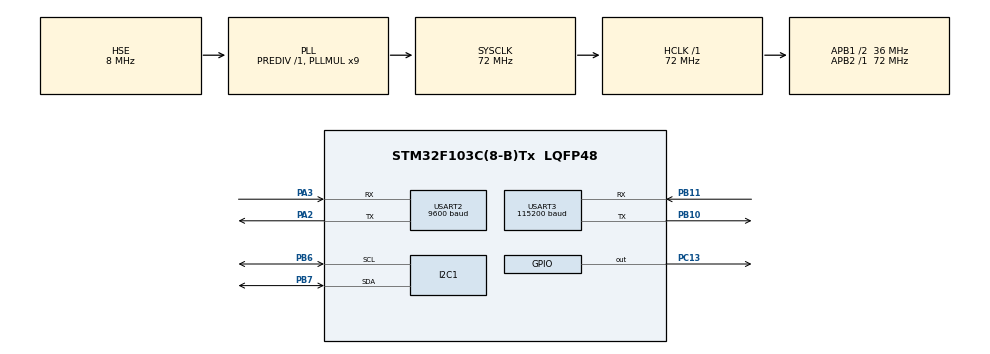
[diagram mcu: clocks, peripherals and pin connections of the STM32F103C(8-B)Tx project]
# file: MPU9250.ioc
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I2C1.I2C_Mode=I2C_Fast
Mcu.Family=STM32F1
Mcu.Name=STM32F103C(8-B)Tx
Mcu.Package=LQFP48
NVIC.PriorityGroup=NVIC_PRIORITYGROUP_4
NVIC.TIM1_BRK_IRQn=true\:0\:0\:false\:false\:true\:true\:true
NVIC.TIM1_CC_IRQn=true\:0\:0\:false\:false\:true\:true\:true
NVIC.TIM1_TRG_COM_IRQn=true\:0\:0\:false\:false\:true\:true\:true
NVIC.TIM1_UP_IRQn=true\:0\:0\:false\:false\:true\:true\:true
NVIC.TIM3_IRQn=true\:0\:0\:false\:false\:true\:true\:true
NVIC.USART2_IRQn=true\:0\:0\:false\:false\:true\:true\:true
PA13.Mode=Serial_Wire
PA13.Signal=SYS_JTMS-SWDIO
PA14.Mode=Serial_Wire
PA14.Signal=SYS_JTCK-SWCLK
PA2.Mode=Asynchronous
PA2.Signal=USART2_TX
PA3.Mode=Asynchronous
PA3.Signal=USART2_RX
PB10.Mode=Asynchronous
PB10.Signal=USART3_TX
PB11.Mode=Asynchronous
PB11.Signal=USART3_RX
PB6.Mode=I2C
PB6.Signal=I2C1_SCL
PB7.Mode=I2C
PB7.Signal=I2C1_SDA
PC13-TAMPER-RTC.Signal=GPIO_Output
PD0-OSC_IN.Mode=HSE-External-Oscillator
PD0-OSC_IN.Signal=RCC_OSC_IN
PD1-OSC_OUT.Mode=HSE-External-Oscillator
PD1-OSC_OUT.Signal=RCC_OSC_OUT
ProjectManager.HeapSize=0x200
ProjectManager.StackSize=0x400
ProjectManager.TargetToolchain=STM32CubeIDE
RCC.AHBFreq_Value=72000000
RCC.APB1CLKDivider=RCC_HCLK_DIV2
RCC.APB1Freq_Value=36000000
RCC.APB1TimFreq_Value=72000000
RCC.APB2Freq_Value=72000000
RCC.APB2TimFreq_Value=72000000
RCC.HCLKFreq_Value=72000000
RCC.PLLMUL=RCC_PLL_MUL9
RCC.PLLSourceVirtual=RCC_PLLSOURCE_HSE
RCC.SYSCLKFreq_VALUE=72000000
RCC.SYSCLKSource=RCC_SYSCLKSOURCE_PLLCLK
RCC.USBFreq_Value=72000000
TIM1.Period=99
TIM1.Prescaler=7199
TIM3.Period=99
TIM3.Prescaler=7199
USART2.BaudRate=9600
USART2.VirtualMode=VM_ASYNC
USART3.BaudRate=115200
USART3.VirtualMode=VM_ASYNC
VP_TIM1_VS_ClockSourceINT.Mode=Internal
VP_TIM3_VS_ClockSourceINT.Mode=Internal
board=custom

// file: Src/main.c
/* USER CODE BEGIN Header */
/**
  ******************************************************************************
  * @file           : main.c
  * @brief          : Main program body
  ******************************************************************************
  * @attention
  *
  * <h2><center>&copy; Copyright (c) 2020 STMicroelectronics.
  * All rights reserved.</center></h2>
  *
  * This software component is licensed by ST under BSD 3-Clause license,
  * the "License"; You may not use this file except in compliance with the
  * License. You may obtain a copy of the License at:
  *                        opensource.org/licenses/BSD-3-Clause
  *
  ******************************************************************************
  */
/* USER CODE END Header */

#include "main.h"
#include "i2c.h"
#include "tim.h"
#include "usart.h"
#include "gpio.h"

/* USER CODE BEGIN Includes */
#include "GPS.h"
#include "IMU/MPU9250.h"
#include "IMU/MPU9250_register.h"
#include "IMU/Madgwick/Madgwick.h"
#include "stdlib.h"
#include <string.h>
#include "stdio.h"
#include "math.h"
/* USER CODE END Includes */

/* USER CODE BEGIN PTD */
#define pi 3.141592653589793238462
float q[4] = {1.0f, 0.0f, 0.0f, 0.0f};
float a12, a22, a31, a32, a33;
uint8_t buf[100]={0};

extern GPS_t GPS;
float enlem,boylam;
/* USER CODE END PTD */

/* USER CODE BEGIN PM */
void HAL_UART_RxCpltCallback(UART_HandleTypeDef *huart)
{
  GPS_CallBack();
}
/* USER CODE END PM */

void SystemClock_Config(void);

/* USER CODE BEGIN 0 */
void HAL_TIM_PeriodElapsedCallback(TIM_HandleTypeDef *htim)
{
	if (htim->Instance == TIM1)
	{
		//Get_magnetometer();
		Process_IMU();

		q[0] = q0;
		q[1] = q1;
		q[2] = q2;
		q[3] = q3;
		a12 =   2.0f * (q[1] * q[2] + q[0] * q[3]);
		a22 =   q[0] * q[0] + q[1] * q[1] - q[2] * q[2] - q[3] * q[3];
		a31 =   2.0f * (q[0] * q[1] + q[2] * q[3]);
		a32 =   2.0f * (q[1] * q[3] - q[0] * q[2]);
		a33 =   q[0] * q[0] - q[1] * q[1] - q[2] * q[2] + q[3] * q[3];
		float sinp = a32;
		if (abs(sinp) >= 1)
			pitch = copysign(M_PI/2,sinp);
		else
			pitch =  asin(sinp);
		//pitch = -asinf(a32);
		roll  = atan2f(a31, a33);
		yaw   = atan2f(a12, a22);
		pitch *= 180.0f / pi;
		yaw = atan2f(sinf(yaw),cosf(yaw));
		yaw   *= 180.0f / pi;

		roll  *= 180.0f / pi;

		uint8_t gyro;

		Gyro_x=gyro;

	}
}
/* USER CODE END 0 */

int main(void)
{
  /* USER CODE BEGIN 1 */
	GPS_Init();
  /* USER CODE END 1 */

  /* MCU Configuration--------------------------------------------------------*/

  /* Reset of all peripherals, Initializes the Flash interface and the Systick. */
  HAL_Init();

  /* Configure the system clock */
  SystemClock_Config();

  /* Initialize all configured peripherals */
  MX_GPIO_Init();
  MX_I2C1_Init();
  MX_USART3_UART_Init();
  MX_TIM1_Init();
  MX_TIM3_Init();
  MX_USART2_UART_Init();
  /* USER CODE BEGIN 2 */
  init_IMU();
  init_magnetometer();
  if (Check_Connection(0x71) == 1)
  {
//	  sprintf((char*)buf,"Value of WHO_I_AM:0x%x\n\r",temp);
//	  HAL_UART_Transmit(&huart3,(uint8_t*)buf,sizeof(buf),1000);
//	  HAL_UART_Transmit(&huart3,(uint8_t*)"MPU9250 is online...\n\r",24,1000);
	  Calibration_IMU();
	  HAL_Delay(1000);

  }
  else
  {
	 // HAL_UART_Transmit(&huart3,(uint8_t*)"check connection...\n",22,1000);
  }

  Calib_magnetometer();
//  HAL_GPIO_WritePin(GPIOC,GPIO_PIN_13,GPIO_PIN_SET);
  HAL_TIM_Base_Start_IT(&htim3);
  HAL_TIM_Base_Start_IT(&htim1);

  /* USER CODE END 2 */

  /* Infinite loop */
  /* USER CODE BEGIN WHILE */
  while (1)
  {
	  //dt = 0.00055;

	  // max = 339  360  10
//		min  -40  -17  -412
	 // sprintf((char*)buf,"%.2f  %.2f  %.2f\r\n",Gyro_X,Gyro_Y,Gyro_Z);

		//sprintf((char*)buf,"Scale_X:%.2f  Scale_Y:%.2f  Scale_Z:%.2f\r\n",scale_x,scale_y,scale_z);
	  //sprintf((char*)buf,"%.3f  %.3f  %.3f\r\n",Mag_X_calib,Mag_Y_calib,Mag_Z_calib);
		//sprintf((char*)buf,"%.2f  %.2f  %.2f\n",(float)mag_bias[0],(float)mag_bias[1],(float)mag_bias[2]);

	 // sprintf((char*)buf,"yaw_kalman: %.2f\n\r",new_yaw);
	  //sprintf((char*)buf,"qo:%.5f  q1:%.5f  q2:%.5f  q3:%.5f\r\n",q[0],q[1],q[2],q[3]);
	  //sprintf((char*)buf,"qo:%.5f  q1:%.5f  q2:%.5f  q3:%.5f\r\n",q0,q1,q2,q3);
	//  sprintf((char*)buf,"%d  %.d  %d\r\n",Mag_x,Mag_y,Mag_z);

	  //sprintf((char*)buf,"Gyro_X_bias: %.2f \t Gyro_Y_bias: %.2f \t Gyro_Z_bias: %.2f\n\r",Gyro_x_bias,Gyro_y_bias,Gyro_z_bias);

//	  HAL_UART_Transmit(&huart3,(uint8_t*)buf,strlen(buf),1000);
//	  HAL_Delay(10);
	  //HAL_UART_Transmit(&huart3,(uint8_t*)mess,(sizeof(mess)),1000);
	  sprintf((char*)buf,"%.2f  %.2f  %.2f\r\n",roll,pitch,yaw);
	  HAL_UART_Transmit(&huart3,(uint8_t*)buf,sizeof(buf),1000);

	  HAL_Delay(100);

	  GPS_Process();
	  enlem=GPS.GPGGA.LatitudeDecimal;
	  boylam=GPS.GPGGA.LongitudeDecimal;

    /* USER CODE END WHILE */

  }
}

void SystemClock_Config(void)
{
  RCC_OscInitTypeDef RCC_OscInitStruct = {0};
  RCC_ClkInitTypeDef RCC_ClkInitStruct = {0};

  /** Initializes the CPU, AHB and APB busses clocks
  */
  RCC_OscInitStruct.OscillatorType = RCC_OSCILLATORTYPE_HSE;
  RCC_OscInitStruct.HSEState = RCC_HSE_ON;
  RCC_OscInitStruct.HSEPredivValue = RCC_HSE_PREDIV_DIV1;
  RCC_OscInitStruct.HSIState = RCC_HSI_ON;
  RCC_OscInitStruct.PLL.PLLState = RCC_PLL_ON;
  RCC_OscInitStruct.PLL.PLLSource = RCC_PLLSOURCE_HSE;
  RCC_OscInitStruct.PLL.PLLMUL = RCC_PLL_MUL9;
  if (HAL_RCC_OscConfig(&RCC_OscInitStruct) != HAL_OK)
  {
    Error_Handler();
  }
  /** Initializes the CPU, AHB and APB busses clocks
  */
  RCC_ClkInitStruct.ClockType = RCC_CLOCKTYPE_HCLK|RCC_CLOCKTYPE_SYSCLK
                              |RCC_CLOCKTYPE_PCLK1|RCC_CLOCKTYPE_PCLK2;
  RCC_ClkInitStruct.SYSCLKSource = RCC_SYSCLKSOURCE_PLLCLK;
  RCC_ClkInitStruct.AHBCLKDivider = RCC_SYSCLK_DIV1;
  RCC_ClkInitStruct.APB1CLKDivider = RCC_HCLK_DIV2;
  RCC_ClkInitStruct.APB2CLKDivider = RCC_HCLK_DIV1;

  if (HAL_RCC_ClockConfig(&RCC_ClkInitStruct, FLASH_LATENCY_2) != HAL_OK)
  {
    Error_Handler();
  }
}

/* USER CODE BEGIN 4 */

//#ifdef __GNUC__
//#define PUTCHAR_PROTOTYPE int __io_putchar(int ch)
//#else
//#define PUTCHAR_PROTOTYPE int fputc(int ch, FILE *f)
//#endif /* __GNUC__ */
//
///**
//  * @brief  Retargets the C library printf function to the USART.
//  * @param  None
//  * @retval None
//  */
//PUTCHAR_PROTOTYPE
//{
//  HAL_UART_Transmit(&huart3, (uint8_t *)&ch, 1, HAL_MAX_DELAY);
//  return ch;
//}
//int __io_putchar(int ch) {
//HAL_UART_Transmit_IT(&huart3, (uint8_t *)&ch, 1);
//while (UartReady != SET) // Wait for the end of the transfer to avoid 2nd Tx before 1st complete
//{
//}
//UartReady = RESET; // Reset transmission flag
//return ch;
//}
/* USER CODE END 4 */

void Error_Handler(void)
{
}

/************************ (C) COPYRIGHT STMicroelectronics *****END OF FILE****/
